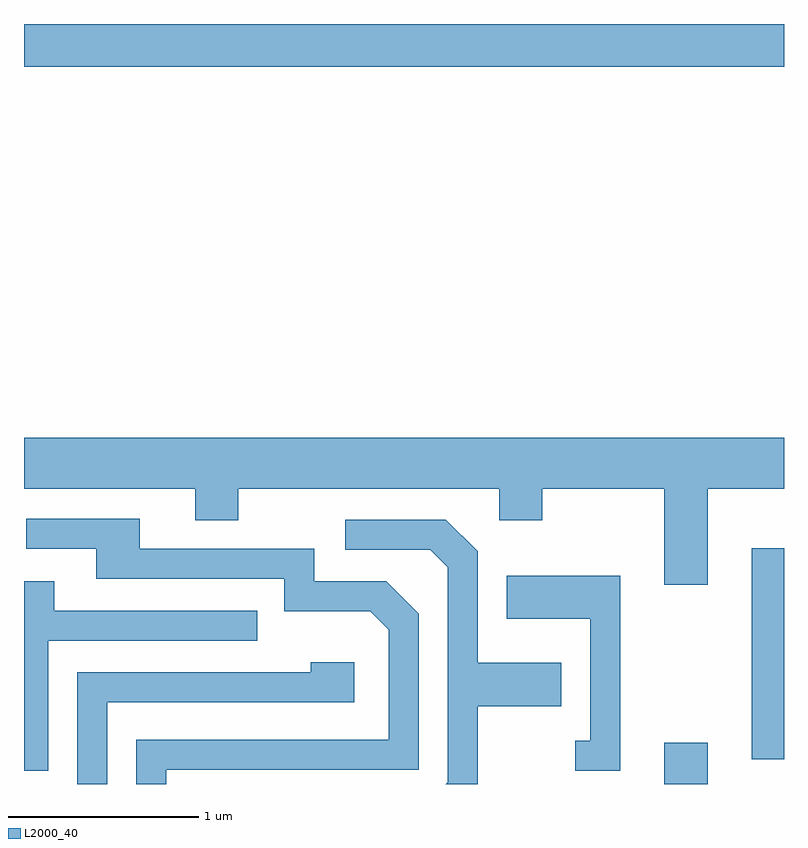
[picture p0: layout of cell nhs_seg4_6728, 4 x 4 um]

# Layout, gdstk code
import gdstk
lib = gdstk.Library(unit=1e-6, precision=1e-09)
def R(c, l, rs):  # rectangles x0, y0, x1, y1
    for r in rs: c.add(gdstk.rectangle(r[:2], r[2:], *l))
def P(c, l, *ps):  # polygons
    for p in ps: c.add(gdstk.Polygon(p, *l))
L2000_40 = (2000, 40)

nhs_seg4_6728 = lib.new_cell('nhs_seg4_6728')
R(nhs_seg4_6728, L2000_40, [(384.981,1381.982,385.209,1382.199), (385.441,1382.111,385.611,1383.224), (381.611,1385.756,385.611,1385.982)])
P(nhs_seg4_6728, L2000_40, [(385.209,1383.536),(385.611,1383.536),(385.611,1383.804),(381.611,1383.804),(381.611,1383.536),(382.511,1383.536),(382.511,1383.371),(382.739,1383.371),(382.739,1383.536),(384.111,1383.536),(384.111,1383.371),(384.339,1383.371),(384.339,1383.536),(384.981,1383.536),(384.981,1383.031),(385.209,1383.031)],
  [(382.359,1382.056),(383.689,1382.056),(383.689,1382.877),(383.517,1383.049),(383.139,1383.049),(383.139,1383.219),(382.219,1383.219),(382.219,1383.379),(381.623,1383.379),(381.623,1383.221),(381.991,1383.221),(381.991,1383.061),(382.981,1383.061),(382.981,1382.891),(383.434,1382.891),(383.531,1382.794),(383.531,1382.214),(382.201,1382.214),(382.201,1381.982),(382.359,1381.982)],
  [(383.999,1382.391),(384.439,1382.391),(384.439,1382.619),(383.999,1382.619),(383.999,1383.207),(383.832,1383.374),(383.303,1383.374),(383.303,1383.216),(383.749,1383.216),(383.841,1383.124),(383.841,1381.992),(383.831,1381.982),(383.999,1381.982)],
  [(384.749,1383.079),(384.151,1383.079),(384.151,1382.851),(384.591,1382.851),(384.591,1382.209),(384.513,1382.209),(384.513,1382.051),(384.749,1382.051)],
  [(381.739,1382.736),(382.838,1382.736),(382.838,1382.894),(381.769,1382.894),(381.769,1383.049),(381.611,1383.049),(381.611,1382.051),(381.739,1382.051)],
  [(382.049,1382.411),(383.349,1382.411),(383.349,1382.624),(383.121,1382.624),(383.121,1382.569),(381.891,1382.569),(381.891,1381.982),(382.049,1381.982)])

lib.write_gds('nhs_seg4_6728.gds')
